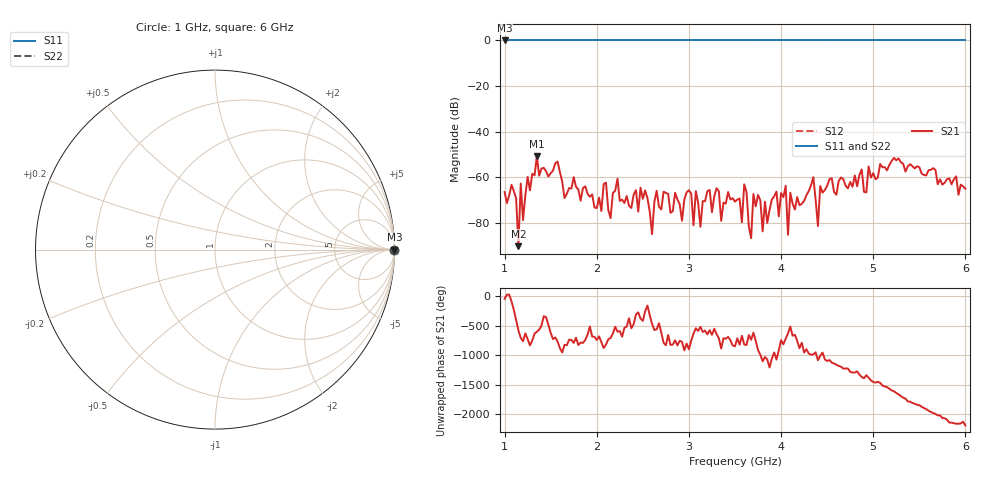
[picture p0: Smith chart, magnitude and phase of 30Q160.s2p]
!Keysight Technologies N9926A: A.08.19
!Date: Sunday, 01 March 2026 14:33:15
!Timezone: (GMT-06:00) Central Time (US & Canada)
!Model: N9926A
!Serial: MY53102721
!GPS Latitude:
!GPS Longitude:
!GPS TimeStamp: 0001-01-01 00:00:00Z
!GPS Seconds Since Last Read: 0
!CHECKSUM:0438355014
!Correction: S11()S21(ON U)S12()S22()
!S2P File: Measurements:S11,S21,S12,S22:
# Hz S DB R 50
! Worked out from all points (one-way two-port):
!   201 points, 1 GHz to 6 GHz, reference 50 ohm
!   highest |S21| = -50.83 dB at 1.35 GHz (marker M1); lowest = -90.3 dB at 1.15 GHz (marker M2)
!   lowest |S11| = 0.0 dB at 1 GHz (marker M3)
!   |S11| at or under -10 dB: nowhere
!   |S22| runs from 0.0 to 0.0 dB; largest |S21 - S12| = 1
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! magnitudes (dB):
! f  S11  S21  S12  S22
! 1 GHz  0.0  -66.6  0.0  0.0
! 1.15 GHz  0.0  -90.3  0.0  0.0
! 1.175 GHz  0.0  -62.8  0.0  0.0
! 1.2 GHz  0.0  -78.9  0.0  0.0
! 1.35 GHz  0.0  -50.8  0.0  0.0
! 1.85 GHz  0.0  -64.8  0.0  0.0
! 2.15 GHz  0.0  -78.0  0.0  0.0
! 2.675 GHz  0.0  -73.0  0.0  0.0
! 3.5 GHz  0.0  -70.8  0.0  0.0
! 3.575 GHz  0.0  -79.8  0.0  0.0
! 3.6 GHz  0.0  -63.2  0.0  0.0
! 3.65 GHz  0.0  -81.6  0.0  0.0
! 3.7 GHz  0.0  -67.4  0.0  0.0
! 3.85 GHz  0.0  -80.1  0.0  0.0
! 4.05 GHz  0.0  -63.8  0.0  0.0
! 4.075 GHz  0.0  -85.4  0.0  0.0
! 4.1 GHz  0.0  -66.9  0.0  0.0
! 4.35 GHz  0.0  -60.0  0.0  0.0
! 4.4 GHz  0.0  -81.5  0.0  0.0
! 4.425 GHz  0.0  -63.9  0.0  0.0
! 5.175 GHz  0.0  -54.7  0.0  0.0
! 6 GHz  0.0  -65.1  0.0  0.0
